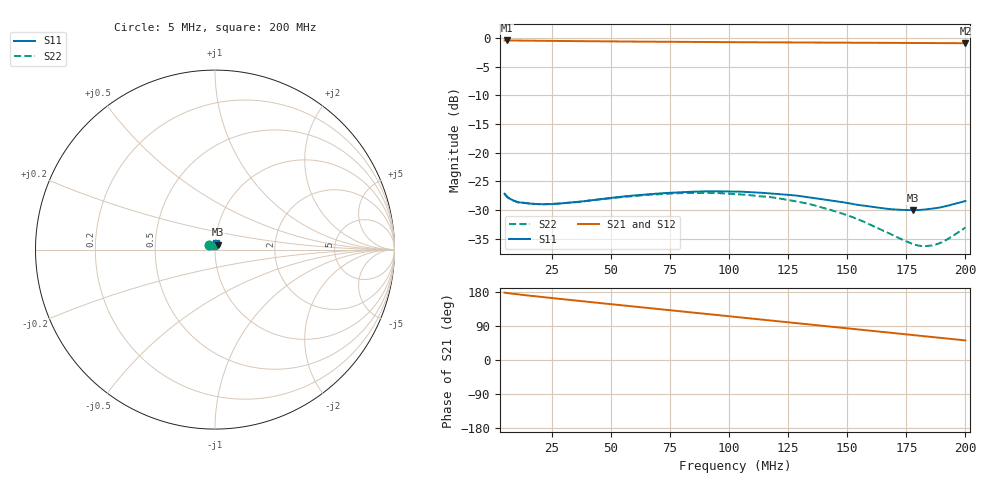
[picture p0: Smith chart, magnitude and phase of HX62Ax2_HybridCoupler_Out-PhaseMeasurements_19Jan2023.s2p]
# Hz S DB R 50
! CMT, M5045, 22160017, 22.4.3/2
! Date: 1/19/2023 23:18:23
! Data: Format (Calibration Info)
! Freq	S11:dB/Ang(F2)	S21:dB/Ang(F2)	S12:dB/Ang(F2)	S22:dB/Ang(F2)
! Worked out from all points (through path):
!   1001 points, 5 MHz to 200 MHz, reference 50 ohm
!   highest |S21| = -0.42 dB at 6.17 MHz (marker M1); lowest = -0.9 dB at 200 MHz (marker M2)
!   lowest |S11| = -30.0 dB at 177.8 MHz (marker M3), VSWR 1.07, Z = 51.4 + j2.86 ohm
!   |S11| at or under -10 dB: start of sweep to end of sweep
!   |S22| runs from -36.3 to -27.0 dB; largest |S21 - S12| = 0.00049
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5000000  -27.15 141.2  -0.43 177.6  -0.43 177.6  -27.19 141.2
6170000  -27.72 142.2  -0.42 176.6  -0.43 176.6  -27.75 142.4
7925000  -28.20 143.0  -0.43 175.2  -0.43 175.3  -28.21 143.3
1.046e7  -28.63 142.7  -0.44 173.4  -0.44 173.4  -28.63 142.8
1.7285e7  -28.94 132.6  -0.47 168.7  -0.47 168.6  -28.93 132.1
2.5475e7  -28.96 122.8  -0.50 163.2  -0.50 163.2  -28.93 122.1
3.7565e7  -28.51 108.8  -0.55 155.3  -0.55 155.3  -28.52 108.0
5.375e7  -27.72 92.6  -0.60 144.9  -0.60 144.9  -27.79 91.0
7.013e7  -27.12 78.6  -0.65 134.4  -0.65 134.4  -27.25 76.3
8.69e7  -26.78 67.0  -0.69 123.8  -0.69 123.8  -27.00 63.2
1.025e8  -26.76 58.3  -0.72 113.9  -0.73 113.9  -27.21 52.8
1.1849e8  -27.13 51.2  -0.76 103.7  -0.76 103.7  -27.81 43.5
1.28045e8  -27.47 48.3  -0.78 97.7  -0.78 97.7  -28.48 39.1
1.35065e8  -27.87 46.8  -0.79 93.2  -0.79 93.2  -29.08 35.9
1.5203e8  -28.92 47.4  -0.82 82.4  -0.82 82.4  -31.21 33.0
1.6763e8  -29.82 54.1  -0.85 72.5  -0.85 72.5  -34.06 40.3
1.7777e8  -30.03 61.9  -0.86 66.0  -0.86 66.0  -35.93 56.1
1.80305e8  -30.00 64.1  -0.87 64.4  -0.87 64.4  -36.20 62.0
1.82645e8  -29.92 66.3  -0.87 62.9  -0.87 62.9  -36.31 67.9
1.87715e8  -29.65 70.8  -0.88 59.6  -0.88 59.6  -35.98 81.3
1.922e8  -29.28 74.6  -0.89 56.7  -0.89 56.7  -35.16 91.8
2e8  -28.44 80.0  -0.90 51.7  -0.91 51.7  -33.05 103.7
